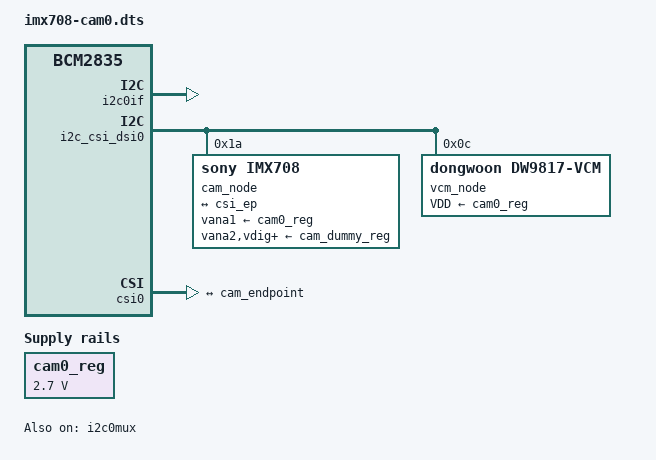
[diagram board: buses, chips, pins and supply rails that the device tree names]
/dts-v1/;
/plugin/;

/ {
	compatible = "brcm,bcm2835";

	fragment@0 {
		target = <&i2c0if>;
		__overlay__ {
			status = "okay";
		};
	};

	clk_frag: fragment@1 {
		target = <&cam0_clk>;
		__overlay__ {
			status = "okay";
			clock-frequency = <0x16e3600>;  /* 24MHz */
		};
	};

	fragment@2 {
		target = <&i2c0mux>;
		__overlay__ {
			status = "okay";
		};
	};

	reg_frag: fragment@3 {
		target = <&cam0_reg>;
		cam_reg: __overlay__ {
			startup-delay-us = <0x11170>;
			off-on-delay-us = <0x7530>;
			regulator-min-microvolt = <0x2932e0>;
			regulator-max-microvolt = <0x2932e0>;
		};
	};

	fragment@4 {
		target = <&cam_node>;
		__overlay__ {
			lens-focus = <&vcm_node>;
		};
	};

	i2c_frag: fragment@100 {
		target = <&i2c_csi_dsi0>;
		__overlay__ {
			#address-cells = <0x01>;
			#size-cells = <0x00>;
			status = "okay";

			cam_node: imx708@1a {
				compatible = "sony,imx708";
				reg = <0x1a>;
				status = "okay";
				clocks = <&cam0_clk>;
				clock-names = "inclk";
				vana1-supply = <&cam0_reg>;
				vana2-supply = <&cam_dummy_reg>;
				vdig-supply = <&cam_dummy_reg>;
				vddl-supply = <&cam_dummy_reg>;
				rotation = <0x00>;
				orientation = <0x00>;

				port {
					cam_endpoint: endpoint {
						clock-lanes = <0x00>;
						data-lanes = <0x01 0x02>;
						clock-noncontinuous;
						link-frequencies = <0x00 0x1ad27480>;
						remote-endpoint = <&csi_ep>;
					};
				};
			};

			vcm_node: dw9817@c {
				compatible = "dongwoon,dw9817-vcm";
				reg = <0x0c>;
				status = "okay";
				VDD-supply = <&cam0_reg>;
			};
		};
	};

	csi_frag: fragment@101 {
		target = <&csi0>;
		csi: __overlay__ {
			status = "okay";
			port {
				csi_ep: endpoint {
					remote-endpoint = <&cam_endpoint>;
					clock-lanes = <0x00>;
					data-lanes = <0x01 0x02>;
					clock-noncontinuous;
				};
			};
		};
	};

	fragment@102 {
		target = <&csi0>;
		__dormant__ {
			compatible = "brcm,bcm2835-unicam-legacy";
		};
	};

	__overrides__ {
		rotation = <&cam_node>, "rotation:0";
		orientation = <&cam_node>, "orientation:0";
		media-controller = [00 00 00 00 21 31 30 32 00];
		vcm = <&vcm_node>, "status", "", "", "", "", "=4";
		link-frequency = <&cam_endpoint>, "link-frequencies#0";
	};
};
